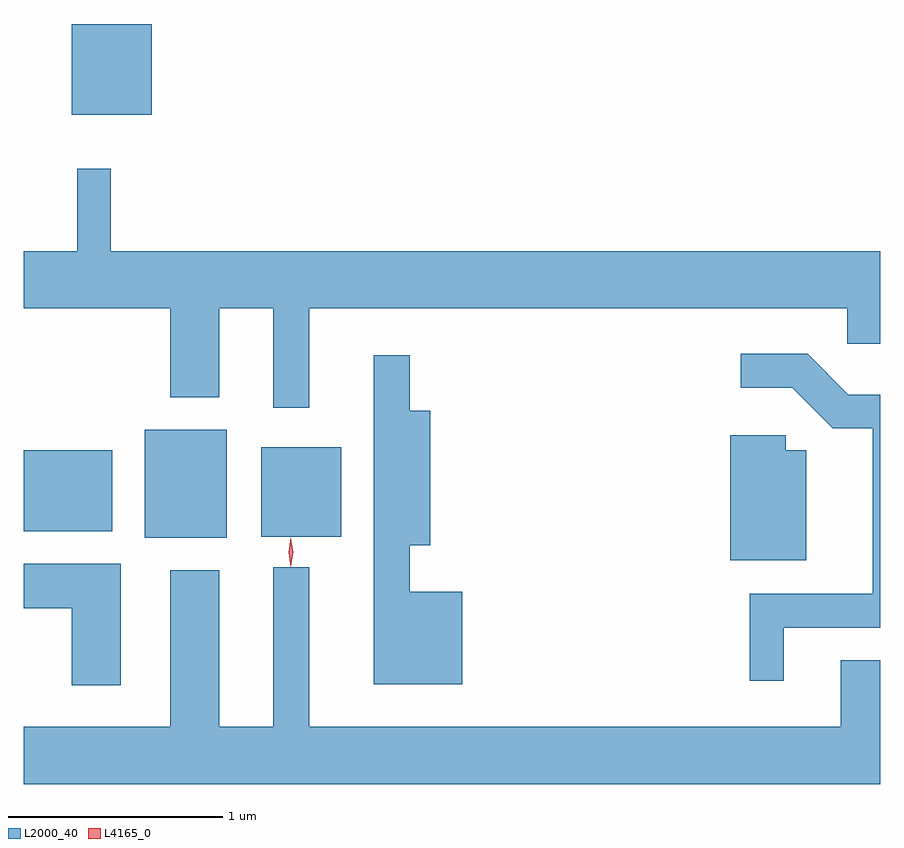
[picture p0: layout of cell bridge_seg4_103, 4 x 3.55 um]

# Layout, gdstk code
import gdstk
lib = gdstk.Library(unit=1e-6, precision=1e-09)
def R(c, l, rs):  # rectangles x0, y0, x1, y1
    for r in rs: c.add(gdstk.rectangle(r[:2], r[2:], *l))
def P(c, l, *ps):  # polygons
    for p in ps: c.add(gdstk.Polygon(p, *l))
L2000_40 = (2000, 40)
L4165_0 = (4165, 0)

bridge_seg4_103 = lib.new_cell('bridge_seg4_103')
R(bridge_seg4_103, L2000_40, [(777.151,1369.146,777.534,1369.649), (777.696,1369.151,778.069,1369.569), (776.586,1369.176,776.999,1369.554), (776.811,1371.121,777.184,1371.544)])
P(bridge_seg4_103, L2000_40, [(777.919,1370.216),(780.431,1370.216),(780.431,1370.051),(780.586,1370.051),(780.586,1370.484),(776.994,1370.484),(776.994,1370.868),(776.836,1370.868),(776.836,1370.484),(776.586,1370.484),(776.586,1370.216),(777.271,1370.216),(777.271,1369.801),(777.499,1369.801),(777.499,1370.216),(777.751,1370.216),(777.751,1369.753),(777.919,1369.753)],
  [(780.134,1368.726),(780.586,1368.726),(780.586,1369.814),(780.437,1369.814),(780.247,1370.004),(779.933,1370.004),(779.933,1369.846),(780.174,1369.846),(780.364,1369.656),(780.551,1369.656),(780.551,1368.884),(779.976,1368.884),(779.976,1368.478),(780.134,1368.478)],
  [(778.634,1368.894),(778.389,1368.894),(778.389,1369.111),(778.484,1369.111),(778.484,1369.739),(778.389,1369.739),(778.389,1369.998),(778.221,1369.998),(778.221,1368.461),(778.634,1368.461)],
  [(780.239,1369.554),(780.144,1369.554),(780.144,1369.624),(779.886,1369.624),(779.886,1369.041),(780.239,1369.041)],
  [(777.039,1369.024),(776.586,1369.024),(776.586,1368.816),(776.811,1368.816),(776.811,1368.456),(777.039,1368.456)],
  [(780.586,1368.574),(780.401,1368.574),(780.401,1368.264),(777.919,1368.264),(777.919,1369.008),(777.751,1369.008),(777.751,1368.264),(777.499,1368.264),(777.499,1368.994),(777.271,1368.994),(777.271,1368.264),(776.586,1368.264),(776.586,1367.996),(780.586,1367.996)])
P(bridge_seg4_103, L4165_0, [(777.833,1369.01),(777.833,1369.01),(777.823,1369.078),(777.833,1369.146),(777.833,1369.146),(777.834,1369.146),(777.843,1369.078),(777.834,1369.01)],
  [(777.833,1369.013),(777.823,1369.078),(777.833,1369.141),(777.834,1369.142),(777.834,1369.141),(777.844,1369.078),(777.834,1369.013),(777.834,1369.013)])

lib.write_gds('bridge_seg4_103.gds')
